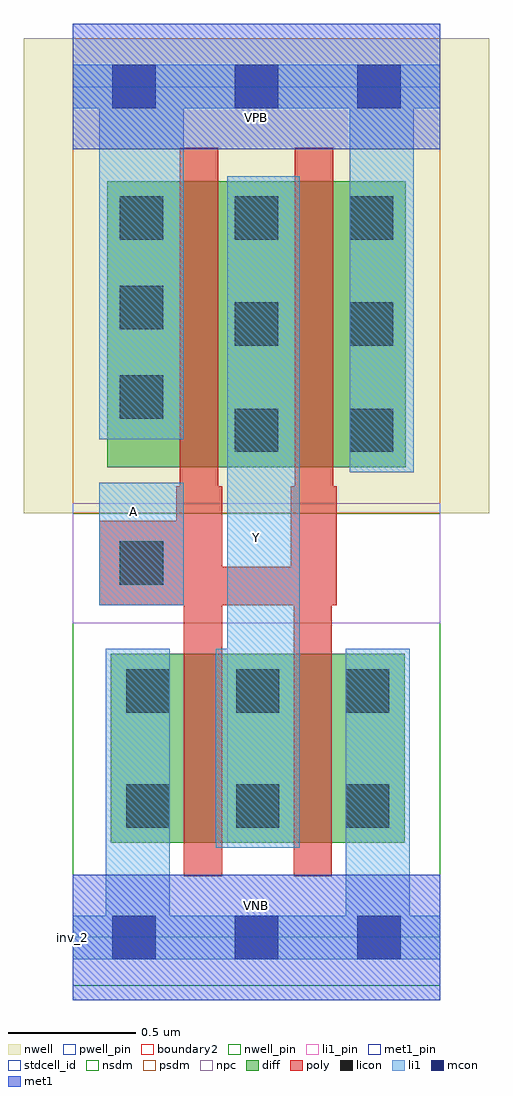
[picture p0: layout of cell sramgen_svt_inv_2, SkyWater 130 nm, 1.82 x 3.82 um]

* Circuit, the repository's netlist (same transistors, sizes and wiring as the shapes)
* Copyright 2020 The SkyWater PDK Authors
*
* Licensed under the Apache License, Version 2.0 (the "License");
* you may not use this file except in compliance with the License.
* You may obtain a copy of the License at
*
*     https://www.apache.org/licenses/LICENSE-2.0
*
* Unless required by applicable law or agreed to in writing, software
* distributed under the License is distributed on an "AS IS" BASIS,
* WITHOUT WARRANTIES OR CONDITIONS OF ANY KIND, either express or implied.
* See the License for the specific language governing permissions and
* limitations under the License.
*
* SPDX-License-Identifier: Apache-2.0


.subckt sramgen_svt_inv_2 A VGND VNB VPB VPWR Y
X0 Y A VPWR VPB sky130_fd_pr__pfet_01v8 w=1.12 l=150000u
X1 VPWR A Y VPB sky130_fd_pr__pfet_01v8 w=1.12 l=150000u
X2 VGND A Y VNB sky130_fd_pr__nfet_01v8 w=740000u l=150000u
X3 Y A VGND VNB sky130_fd_pr__nfet_01v8 w=740000u l=150000u
.ends

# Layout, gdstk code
import gdstk
lib = gdstk.Library(unit=1e-6, precision=1e-09)
def R(c, l, rs):  # rectangles x0, y0, x1, y1
    for r in rs: c.add(gdstk.rectangle(r[:2], r[2:], *l))
def A(c, l, x, y, w, h, nx, ny, dx, dy):  # array of equal rectangles
    R(c, l, [(x+i*dx, y+j*dy, x+i*dx+w, y+j*dy+h) for i in range(nx) for j in range(ny)])
def P(c, l, *ps):  # polygons
    for p in ps: c.add(gdstk.Polygon(p, *l))
nwell_pin = (64, 16)
nwell = (64, 20)
diff = (65, 20)
poly = (66, 20)
licon = (66, 44)
li1_pin = (67, 16)
li1 = (67, 20)
mcon = (67, 44)
met1_pin = (68, 16)
met1 = (68, 20)
stdcell_id = (81, 4)
nsdm = (93, 44)
psdm = (94, 20)
npc = (95, 20)
pwell_pin = (122, 16)
boundary2 = (236, 0)

sramgen_svt_inv_2 = lib.new_cell('sramgen_svt_inv_2')
R(sramgen_svt_inv_2, nwell_pin, [(0,3.085,1.44,3.33)])
R(sramgen_svt_inv_2, nwell, [(-0.19,1.66,1.63,3.52)])
R(sramgen_svt_inv_2, diff, [(0.15,0.37,1.3,1.11), (0.135,1.84,1.305,2.96)])
P(sramgen_svt_inv_2, poly, [(0.435,0.24),(0.435,1.3),(0.105,1.3),(0.105,1.63),(0.405,1.63),(0.405,1.765),(0.42,1.765),(0.42,3.09),(0.57,3.09),(0.57,1.765),(0.585,1.765),(0.585,1.45),(0.855,1.45),(0.855,1.765),(0.87,1.765),(0.87,3.09),(1.02,3.09),(1.02,1.765),(1.035,1.765),(1.035,1.3),(1.015,1.3),(1.015,0.24),(0.865,0.24),(0.865,1.3),(0.585,1.3),(0.585,0.24)])
A(sramgen_svt_inv_2, licon, 0.21, 0.43, 0.17, 0.17, 3, 2, 0.43, 0.45)
A(sramgen_svt_inv_2, licon, 0.185, 2.73, 0.17, 0.17, 3, 1, 0.45, 0)
R(sramgen_svt_inv_2, licon, [(0.185,1.38,0.355,1.55), (0.635,1.9,0.805,2.07), (1.085,1.9,1.255,2.07), (0.185,2.03,0.355,2.2), (0.635,2.315,0.805,2.485), (1.085,2.315,1.255,2.485), (0.185,2.38,0.355,2.55)])
R(sramgen_svt_inv_2, li1_pin, [(0.605,0.35,0.89,2.98), (0.105,1.3,0.435,1.78)])
R(sramgen_svt_inv_2, li1, [(0.105,1.3,0.435,1.78)])
P(sramgen_svt_inv_2, li1, [(0,-0.085),(0,0.085),(0.13,0.085),(0.13,1.13),(0.38,1.13),(0.38,0.085),(1.07,0.085),(1.07,1.13),(1.32,1.13),(1.32,0.085),(1.44,0.085),(1.44,-0.085)],
  [(1.085,1.82),(1.085,3.245),(0.435,3.245),(0.435,1.95),(0.105,1.95),(0.105,3.245),(0,3.245),(0,3.415),(1.44,3.415),(1.44,3.245),(1.335,3.245),(1.335,1.82)],
  [(0.56,0.35),(0.56,1.13),(0.605,1.13),(0.605,2.98),(0.89,2.98),(0.89,0.35)])
A(sramgen_svt_inv_2, mcon, 0.155, -0.085, 0.17, 0.17, 3, 2, 0.48, 3.33)
R(sramgen_svt_inv_2, met1_pin, [(0,-0.245,1.44,0.245), (0,3.085,1.44,3.575)])
R(sramgen_svt_inv_2, met1, [(0,-0.245,1.44,0.245), (0,3.085,1.44,3.575)])
R(sramgen_svt_inv_2, stdcell_id, [(0,0,1.44,3.33)])
R(sramgen_svt_inv_2, nsdm, [(0,-0.19,1.44,1.66)])
R(sramgen_svt_inv_2, psdm, [(0,1.66,1.44,3.52)])
R(sramgen_svt_inv_2, npc, [(0,1.23,1.44,1.7)])
R(sramgen_svt_inv_2, pwell_pin, [(0,0,1.44,0.245)])
R(sramgen_svt_inv_2, boundary2, [(0,0,1.44,3.33)])
sramgen_svt_inv_2.add(gdstk.Label('inv_2', (0,0), layer=83, texttype=44))
sramgen_svt_inv_2.add(gdstk.Label('VNB', (0.72,0.123), layer=64, texttype=59))
sramgen_svt_inv_2.add(gdstk.Label('VPB', (0.72,3.208), layer=64, texttype=5))
sramgen_svt_inv_2.add(gdstk.Label('VPWR', (0.72,3.208), layer=68, texttype=5))
sramgen_svt_inv_2.add(gdstk.Label('VGND', (0.72,0.123), layer=68, texttype=5))
sramgen_svt_inv_2.add(gdstk.Label('Y', (0.721,1.564), layer=67, texttype=5))
sramgen_svt_inv_2.add(gdstk.Label('A', (0.24,1.665), layer=67, texttype=5))

lib.write_gds('sramgen_svt_inv_2.gds')
